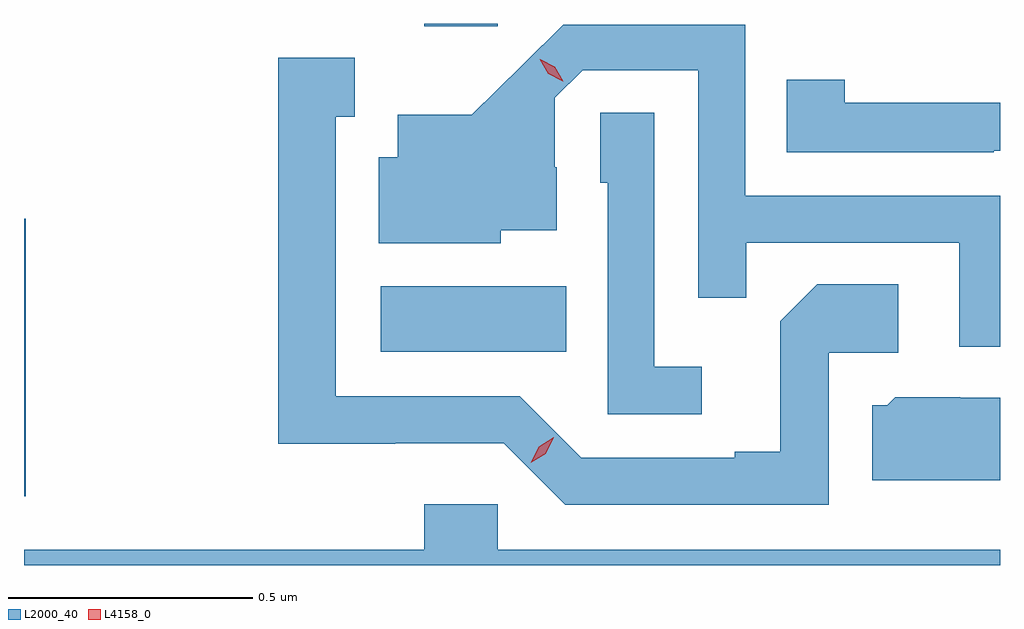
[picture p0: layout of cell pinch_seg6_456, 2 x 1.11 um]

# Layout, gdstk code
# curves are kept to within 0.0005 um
import gdstk
lib = gdstk.Library(unit=1e-6, precision=1e-09)
def R(c, l, rs):  # rectangles x0, y0, x1, y1
    for r in rs: c.add(gdstk.rectangle(r[:2], r[2:], *l))
def P(c, l, *ps):  # polygons
    for p in ps: c.add(gdstk.Polygon(p, *l))
L2000_40 = (2000, 40)
L4158_0 = (4158, 0)

pinch_seg6_456 = lib.new_cell('pinch_seg6_456')
R(pinch_seg6_456, L2000_40, [(723.391,915.642,723.395,916.21), (724.122,915.938,724.502,916.072), (724.211,916.605,724.362,916.61)])
P(pinch_seg6_456, L2000_40, [(725.391,916.257),(724.869,916.257),(724.869,916.608),(724.496,916.608),(724.309,916.423),(724.157,916.423),(724.157,916.336),(724.118,916.336),(724.118,916.16),(724.368,916.16),(724.368,916.187),(724.483,916.187),(724.483,916.316),(724.479,916.316),(724.479,916.458),(724.536,916.515),(724.773,916.515),(724.773,916.048),(724.871,916.048),(724.871,916.161),(725.307,916.161),(725.307,915.948),(725.391,915.948)],
  [(725.04,915.936),(725.182,915.936),(725.182,916.076),(725.017,916.076),(724.941,916),(724.941,915.733),(724.847,915.733),(724.847,915.72),(724.533,915.72),(724.407,915.846),(724.03,915.846),(724.03,916.419),(724.069,916.419),(724.069,916.54),(723.912,916.54),(723.912,915.749),(724.152,915.749),(724.152,915.75),(724.374,915.75),(724.5,915.624),(725.04,915.624)],
  [(725.378,916.35),(725.391,916.35),(725.391,916.448),(725.073,916.448),(725.073,916.495),(724.954,916.495),(724.954,916.347),(725.378,916.347)],
  [(724.78,915.907),(724.683,915.907),(724.683,916.427),(724.572,916.427),(724.572,916.284),(724.587,916.284),(724.587,915.81),(724.78,915.81)],
  [(725.391,915.843),(725.31,915.843),(725.31,915.844),(725.176,915.844),(725.16,915.828),(725.129,915.828),(725.129,915.674),(725.391,915.674)],
  [(725.391,915.532),(724.362,915.532),(724.362,915.625),(724.211,915.625),(724.211,915.532),(723.391,915.532),(723.391,915.5),(725.391,915.5)])
P(pinch_seg6_456, L4158_0, [(724.495,916.492),(724.465,916.507),(724.448,916.537),(724.448,916.537),(724.449,916.537),(724.479,916.522),(724.496,916.492),(724.496,916.492)],
  [(724.429,915.71),(724.429,915.71),(724.446,915.743),(724.477,915.762),(724.477,915.762),(724.477,915.762),(724.46,915.729),(724.429,915.71)])

lib.write_gds('pinch_seg6_456.gds')
